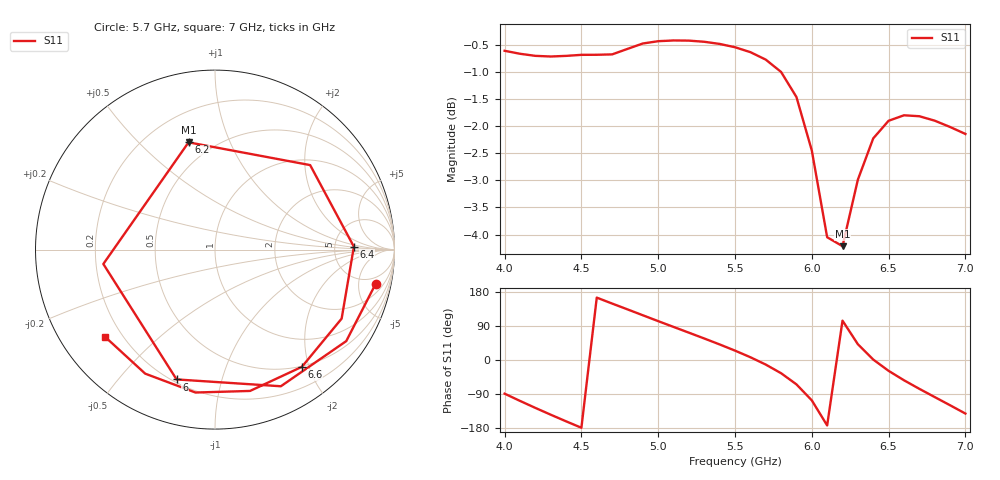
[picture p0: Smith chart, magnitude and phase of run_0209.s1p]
! Touchstone file exported from HFSS 2024.2.0
!  File:  C:/Users/wsak9/Desktop/Sim Fast/Widenad Patch/WP_AI_V1_sweep.aedt
!  Generated:  11:41:43 PM Oct 13, 2026
!  Design:  A1_model
!  Project:  WP_AI_V1_sweep
!  Setup:  Setup1
!  Solution:  Sweep
! Variables:
!  Air_gap = 4.37mm
!  Curve_Amp1 = 1.58
!  Curve_len1 = 1
!  Curve_pos = 9.95mm
!  Extra = 7.14mm
!  H_sub = 0.79mm
!  L_Patch = 15.9mm
!  L_Patch1 = 19.76mm
!  Sx = 3.23mm
!  Sy = 1.28mm
!  WS = 1.18mm
!  W_Patch = 19.79mm
!  W_Patch1 = 12.62mm
!Data is not renormalized
# GHz S MA
! Terminal data exported
! Port[1] = 1
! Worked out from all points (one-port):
!   31 points, 4 GHz to 7 GHz, reference per port
!   lowest |S11| = -4.2 dB at 6.2 GHz (marker M1), VSWR 4.20
!   |S11| at or under -10 dB: nowhere
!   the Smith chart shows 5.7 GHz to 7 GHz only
!   S11 on the Smith chart (normalised r, x): 5.7 GHz: 3.43, -8.05; 6 GHz: 0.22, -0.72; 6.2 GHz: 0.37, +0.71; 6.4 GHz: 7.80, +0.63; 6.6 GHz: 0.49, -1.89; 7 GHz: 0.14, -0.34
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4  0.9324 -88.8
4.1  0.9265 -107.9
4.2  0.9224 -126.4
4.3  0.9212 -144.3
4.4  0.9224 -161.8
4.5  0.9244 -178.8
4.6  0.9245 164.6
4.8  0.9362 133.6
5  0.9516 102.5
5.1  0.9531 87.3
5.2  0.9528 72.1
5.3  0.9504 56.7
5.5  0.9395 24.8
5.6  0.9297 7.3
5.7  0.9151 -12.0
5.8  0.8914 -34.9
5.9  0.8451 -64.3
6  0.7544 -106.5
6.1  0.6273 -172.7
6.2  0.6155 103.8
6.3  0.709 41.6
6.4  0.774 1.2
6.5  0.8035 -28.6
6.6  0.8129 -53.5
6.7  0.8113 -76.1
6.8  0.8037 -97.8
6.9  0.793 -119.4
7  0.7814 -141.4
